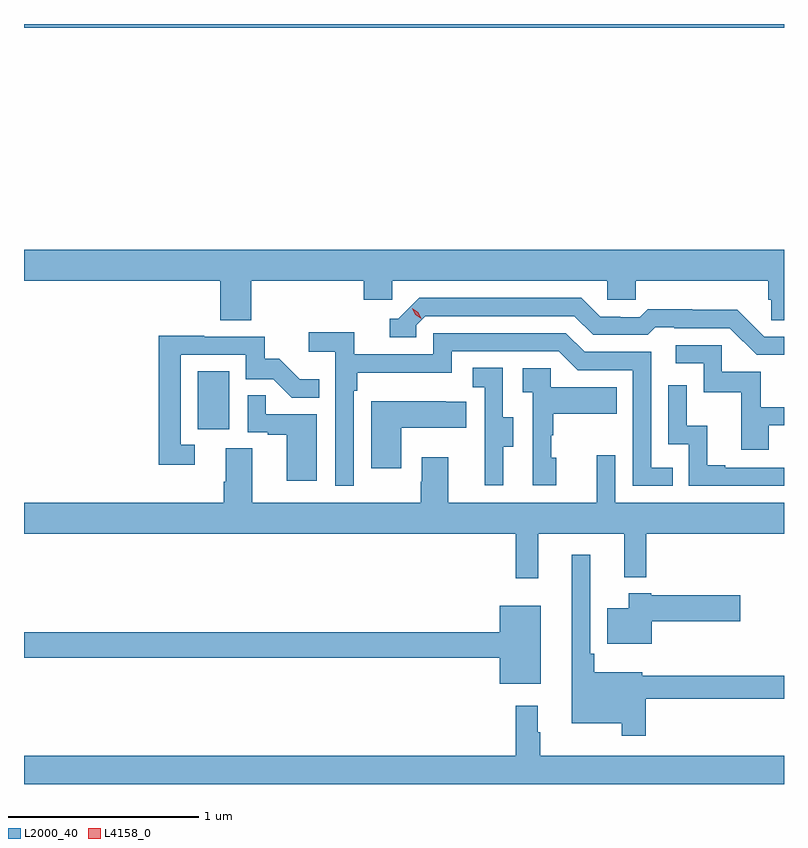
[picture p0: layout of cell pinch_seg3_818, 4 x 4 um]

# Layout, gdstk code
import gdstk
lib = gdstk.Library(unit=1e-6, precision=1e-09)
def R(c, l, rs):  # rectangles x0, y0, x1, y1
    for r in rs: c.add(gdstk.rectangle(r[:2], r[2:], *l))
def P(c, l, *ps):  # polygons
    for p in ps: c.add(gdstk.Polygon(p, *l))
L2000_40 = (2000, 40)
L4158_0 = (4158, 0)

pinch_seg3_818 = lib.new_cell('pinch_seg3_818')
R(pinch_seg3_818, L2000_40, [(875.054,726.774,875.218,727.081), (874.139,728.888,878.139,728.908)])
P(pinch_seg3_818, L2000_40, [(875.336,727.556),(875.927,727.556),(875.927,727.458),(876.078,727.458),(876.078,727.556),(877.209,727.556),(877.209,727.458),(877.359,727.458),(877.359,727.556),(878.057,727.556),(878.057,727.458),(878.071,727.458),(878.071,727.348),(878.139,727.348),(878.139,727.72),(874.139,727.72),(874.139,727.556),(875.171,727.556),(875.171,727.348),(875.336,727.348)],
  [(878.139,727.263),(878.034,727.263),(877.892,727.405),(877.656,727.405),(877.656,727.408),(877.423,727.408),(877.381,727.365),(877.278,727.365),(877.278,727.368),(877.171,727.368),(877.072,727.467),(876.219,727.467),(876.108,727.356),(876.065,727.356),(876.065,727.26),(876.204,727.26),(876.204,727.323),(876.252,727.371),(877.035,727.371),(877.134,727.272),(877.423,727.272),(877.462,727.311),(877.561,727.311),(877.561,727.308),(877.854,727.308),(877.995,727.167),(878.139,727.167)],
  [(875.874,726.977),(875.894,726.977),(875.894,727.073),(876.39,727.073),(876.39,727.185),(876.954,727.185),(877.053,727.086),(877.344,727.086),(877.344,726.477),(877.553,726.477),(877.553,726.573),(877.44,726.573),(877.44,727.182),(877.09,727.182),(876.991,727.281),(876.294,727.281),(876.294,727.17),(875.876,727.17),(875.876,727.286),(875.637,727.286),(875.637,727.184),(875.778,727.184),(875.778,726.477),(875.874,726.477)],
  [(875.038,726.693),(874.965,726.693),(874.965,727.167),(875.307,727.167),(875.307,727.038),(875.451,727.038),(875.549,726.94),(875.693,726.94),(875.693,727.039),(875.589,727.039),(875.482,727.146),(875.406,727.146),(875.406,727.263),(875.087,727.263),(875.087,727.268),(874.849,727.268),(874.849,726.588),(875.038,726.588)],
  [(878.059,726.795),(878.139,726.795),(878.139,726.891),(878.017,726.891),(878.017,727.077),(877.812,727.077),(877.812,727.218),(877.569,727.218),(877.569,727.122),(877.716,727.122),(877.716,726.969),(877.915,726.969),(877.915,726.666),(878.059,726.666)],
  [(876.661,726.682),(876.715,726.682),(876.715,726.837),(876.66,726.837),(876.66,727.1),(876.501,727.1),(876.501,726.997),(876.564,726.997),(876.564,726.693),(876.563,726.693),(876.563,726.48),(876.661,726.48)],
  [(876.94,726.624),(876.915,726.624),(876.915,726.743),(876.925,726.743),(876.925,726.857),(877.259,726.857),(877.259,726.997),(876.912,726.997),(876.912,727.095),(876.765,727.095),(876.765,726.971),(876.816,726.971),(876.816,726.48),(876.94,726.48)],
  [(878.139,726.573),(877.831,726.573),(877.831,726.586),(877.736,726.586),(877.736,726.794),(877.626,726.794),(877.626,727.006),(877.53,727.006),(877.53,726.696),(877.638,726.696),(877.638,726.477),(878.139,726.477)],
  [(875.68,726.855),(875.411,726.855),(875.411,726.953),(875.316,726.953),(875.316,726.759),(875.423,726.759),(875.423,726.747),(875.522,726.747),(875.522,726.504),(875.68,726.504)],
  [(876.124,726.782),(876.467,726.782),(876.467,726.919),(876.359,726.919),(876.359,726.922),(875.966,726.922),(875.966,726.57),(876.124,726.57)],
  [(876.845,726.224),(877.298,726.224),(877.298,725.996),(877.415,725.996),(877.415,726.224),(878.139,726.224),(878.139,726.388),(877.251,726.388),(877.251,726.637),(877.154,726.637),(877.154,726.388),(876.373,726.388),(876.373,726.628),(876.233,726.628),(876.233,726.5),(876.226,726.5),(876.226,726.388),(875.341,726.388),(875.341,726.674),(875.201,726.674),(875.201,726.5),(875.189,726.5),(875.189,726.388),(874.139,726.388),(874.139,726.224),(876.727,726.224),(876.727,725.991),(876.845,725.991)],
  [(877.412,725.358),(878.139,725.358),(878.139,725.479),(877.393,725.479),(877.393,725.497),(877.139,725.497),(877.139,725.593),(877.119,725.593),(877.119,726.115),(877.022,726.115),(877.022,725.228),(877.284,725.228),(877.284,725.163),(877.412,725.163)],
  [(877.444,725.764),(877.909,725.764),(877.909,725.901),(877.44,725.901),(877.44,725.911),(877.322,725.911),(877.322,725.833),(877.208,725.833),(877.208,725.645),(877.444,725.645)],
  [(876.859,725.845),(876.644,725.845),(876.644,725.708),(874.139,725.708),(874.139,725.572),(876.644,725.572),(876.644,725.435),(876.859,725.435)],
  [(878.139,725.056),(876.856,725.056),(876.856,725.18),(876.844,725.18),(876.844,725.32),(876.727,725.32),(876.727,725.056),(874.139,725.056),(874.139,724.908),(878.139,724.908)])
P(pinch_seg3_818, L4158_0, [(876.229,727.358),(876.199,727.378),(876.182,727.41),(876.182,727.411),(876.183,727.411),(876.214,727.391),(876.23,727.359),(876.23,727.358)])

lib.write_gds('pinch_seg3_818.gds')
